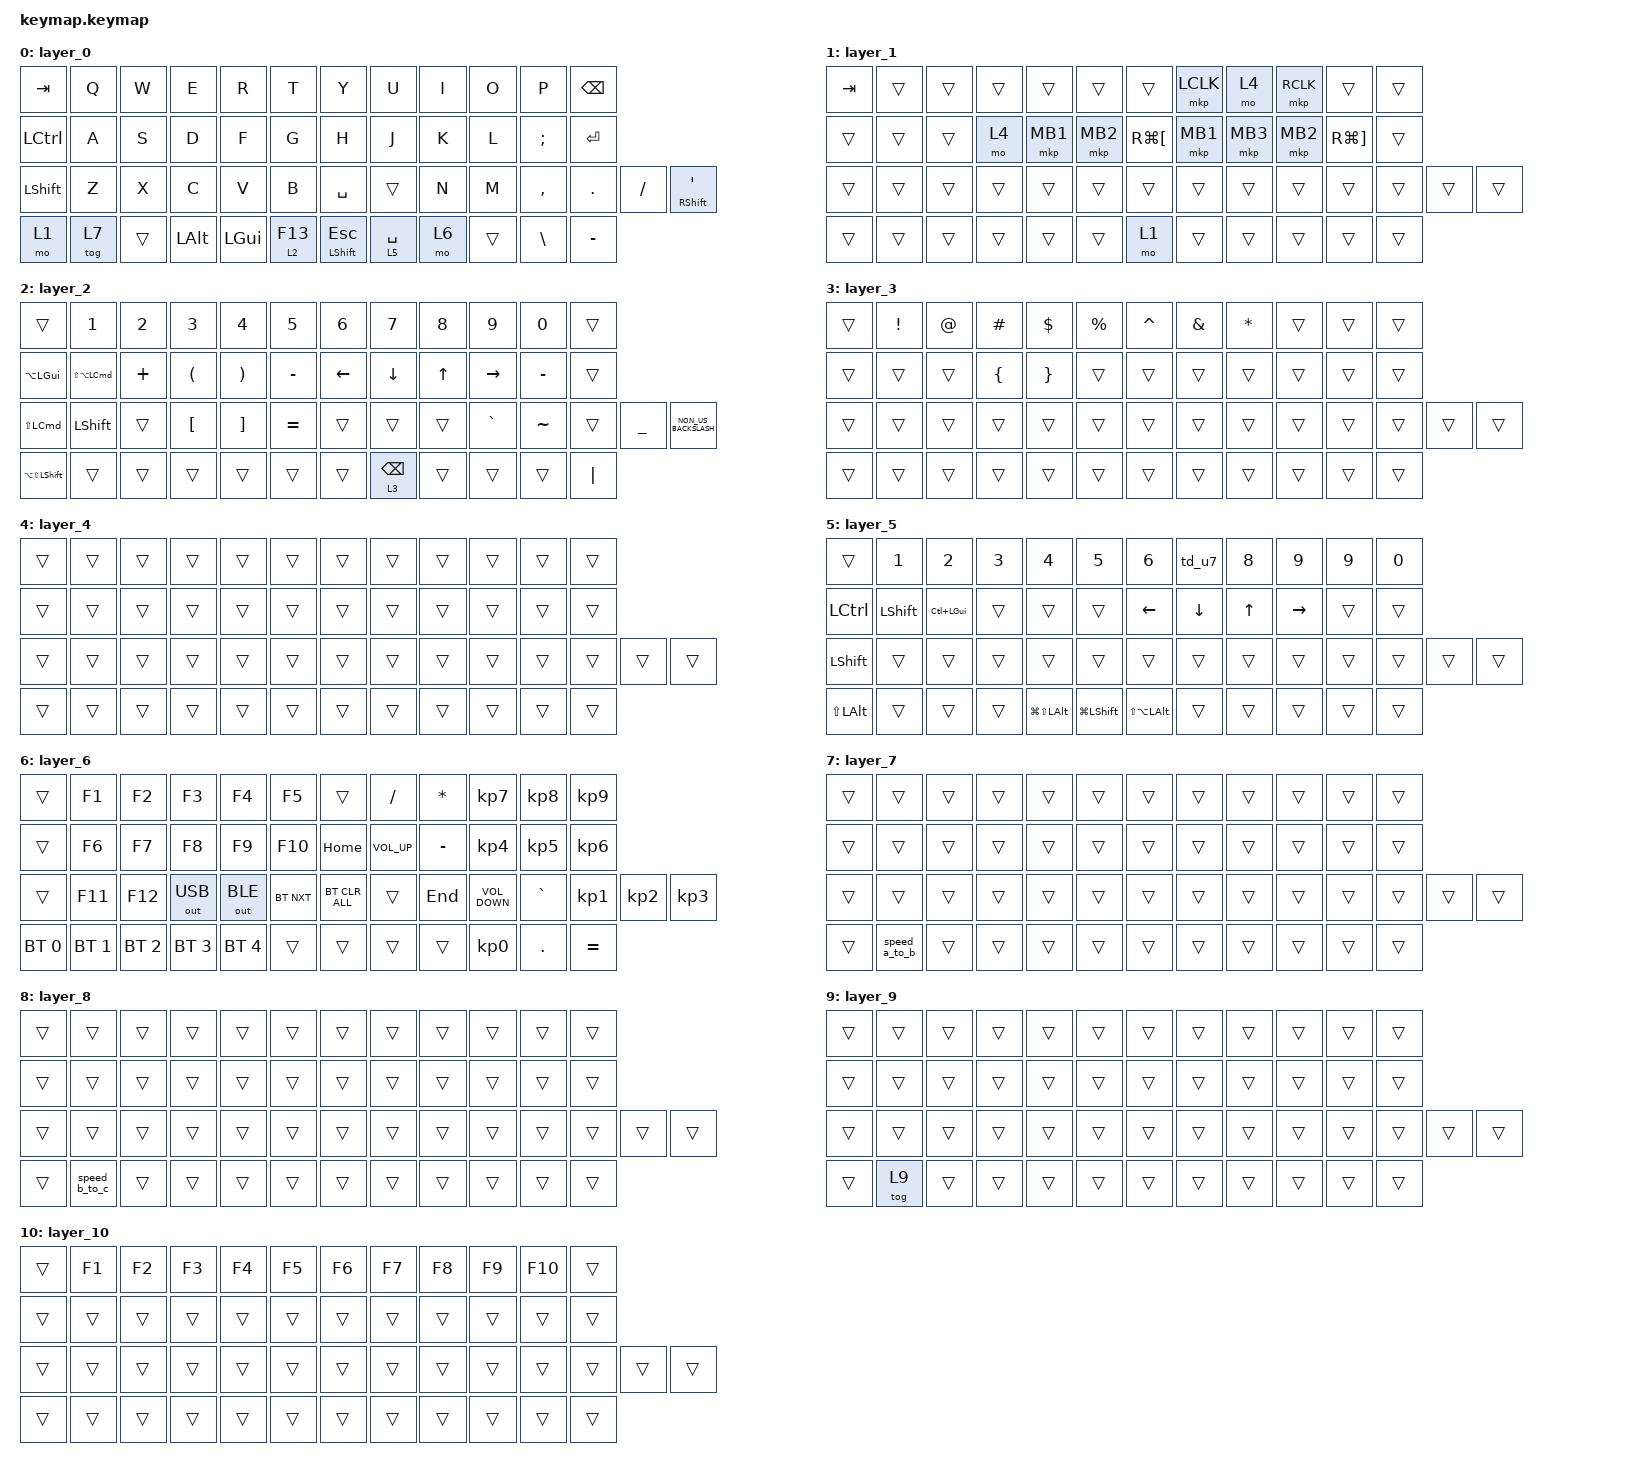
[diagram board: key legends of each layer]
#include <behaviors.dtsi>
#include <dt-bindings/zmk/bt.h>
#include <dt-bindings/zmk/keys.h>
#include <dt-bindings/zmk/outputs.h>
#include <dt-bindings/zmk/pointing.h>

/ {
    behaviors {
        lt_rep: layer_tap_repeatable {
            compatible = "zmk,behavior-hold-tap";
            #binding-cells = <2>;
            flavor = "tap-preferred";
            tapping-term-ms = <200>;
            quick-tap-ms = <200>;
            bindings = <&mo>, <&kp>;
        };

        td_u7: tap_dance_u7 {
            compatible = "zmk,behavior-tap-dance";
            #binding-cells = <0>;
            tapping-term-ms = <200>;
            bindings = <&kp N7>, <&kp U>;
        };
    };

    macros {
        speed_a_to_b: speed_a_to_b {
            compatible = "zmk,behavior-macro";
            #binding-cells = <0>;
            bindings = <&macro_tap>, <&tog 7 &tog 8>;
        };

        speed_b_to_c: speed_b_to_c {
            compatible = "zmk,behavior-macro";
            #binding-cells = <0>;
            bindings = <&macro_tap>, <&tog 8 &tog 9>;
        };
    };

    combos {
        compatible = "zmk,combos";

        bt_clear {
            bindings = <&bt BT_CLR>;
            key-positions = <28 29>;
            layers = <2>;
        };

        switch-jp-lang {
            bindings = <&kp RIGHT_GUI>;
            key-positions = <15 16>;
            require-prior-idle-ms = <0>;
            timeout-ms = <30>;
            layers = <0 7 8 9>;
        };

        haifun {
            bindings = <&kp MINUS>;
            key-positions = <20 21>;
            timeout-ms = <30>;
            layers = <0 7 8 9>;
        };

        backspace {
            bindings = <&kp BACKSPACE>;
            key-positions = <19 20>;
            timeout-ms = <30>;
            layers = <0 7 8 9>;
        };

        under-score {
            bindings = <&kp UNDERSCORE>;
            key-positions = <34 35>;
            timeout-ms = <30>;
            layers = <0 7 8 9 5>;
        };
    };

    keymap {
        compatible = "zmk,keymap";

        layer_0 {
            bindings = <
&kp TAB    &kp Q   &kp W   &kp E     &kp R         &kp T      &kp Y               &kp U            &kp I  &kp O   &kp P          &kp BSPC
&kp LCTRL  &kp A   &kp S   &kp D     &kp F         &kp G      &kp H               &kp J            &kp K  &kp L   &kp SEMICOLON  &kp ENTER
&kp LSHFT  &kp Z   &kp X   &kp C     &kp V         &kp B      &kp SPACE           &trans           &kp N  &kp M   &kp COMMA      &kp DOT    &kp SLASH  &mt RSHFT SINGLE_QUOTE
&mo 1      &tog 7  &trans  &kp LALT  &kp LEFT_GUI  &lt 2 F13  &mt LEFT_SHIFT ESC  &lt_rep 5 SPACE  &mo 6  &trans  &kp BACKSLASH  &kp MINUS
            >;
        };

        layer_1 {
            bindings = <
&kp TAB  &trans  &trans  &trans  &trans    &trans    &trans                &mkp LCLK  &mo 4     &mkp RCLK  &trans                 &trans
&trans   &trans  &trans  &mo 4   &mkp MB1  &mkp MB2  &kp RG(LEFT_BRACKET)  &mkp MB1   &mkp MB3  &mkp MB2   &kp RG(RIGHT_BRACKET)  &trans
&trans   &trans  &trans  &trans  &trans    &trans    &trans                &trans     &trans    &trans     &trans                 &trans  &trans  &trans
&trans   &trans  &trans  &trans  &trans    &trans    &mo 1                 &trans     &trans    &trans     &trans                 &trans
            >;
        };

        layer_2 {
            bindings = <
&trans                  &kp N1            &kp N2    &kp N3                &kp N4                 &kp N5     &kp N6    &kp N7               &kp N8        &kp N9     &kp N0     &trans
&kp LA(LEFT_GUI)        &kp LS(LA(LCMD))  &kp PLUS  &kp LEFT_PARENTHESIS  &kp RIGHT_PARENTHESIS  &kp MINUS  &kp LEFT  &kp DOWN             &kp UP_ARROW  &kp RIGHT  &kp MINUS  &trans
&kp LS(LCMD)            &kp LEFT_SHIFT    &trans    &kp LEFT_BRACKET      &kp RIGHT_BRACKET      &kp EQUAL  &trans    &trans               &trans        &kp GRAVE  &kp TILDE  &trans    &kp UNDER  &kp NON_US_BACKSLASH
&kp LA(LS(LEFT_SHIFT))  &trans            &trans    &trans                &trans                 &trans     &trans    &lt_rep 3 BACKSPACE  &trans        &trans     &trans     &kp PIPE
            >;
        };

        layer_3 {
            bindings = <
&trans  &kp EXCLAMATION  &kp AT_SIGN  &kp HASH        &kp DOLLAR       &kp PERCENT  &kp CARET  &kp AMPERSAND  &kp ASTERISK  &trans  &trans  &trans
&trans  &trans           &trans       &kp LEFT_BRACE  &kp RIGHT_BRACE  &trans       &trans     &trans         &trans        &trans  &trans  &trans
&trans  &trans           &trans       &trans          &trans           &trans       &trans     &trans         &trans        &trans  &trans  &trans  &trans  &trans
&trans  &trans           &trans       &trans          &trans           &trans       &trans     &trans         &trans        &trans  &trans  &trans
            >;
        };

        layer_4 {
            bindings = <
&trans  &trans  &trans  &trans  &trans  &trans  &trans  &trans  &trans  &trans  &trans  &trans
&trans  &trans  &trans  &trans  &trans  &trans  &trans  &trans  &trans  &trans  &trans  &trans
&trans  &trans  &trans  &trans  &trans  &trans  &trans  &trans  &trans  &trans  &trans  &trans  &trans  &trans
&trans  &trans  &trans  &trans  &trans  &trans  &trans  &trans  &trans  &trans  &trans  &trans
            >;
        };

        layer_5 {
            bindings = <
&trans            &kp NUMBER_1    &kp NUMBER_2      &kp NUMBER_3  &kp NUMBER_4          &kp N5              &kp NUMBER_6          &td_u7          &kp N8        &kp N9           &kp N9  &kp N0
&kp LCTRL         &kp LEFT_SHIFT  &kp LC(LEFT_GUI)  &trans        &trans                &trans              &kp LEFT_ARROW        &kp DOWN_ARROW  &kp UP_ARROW  &kp RIGHT_ARROW  &trans  &trans
&kp LEFT_SHIFT    &trans          &trans            &trans        &trans                &trans              &trans                &trans          &trans        &trans           &trans  &trans  &trans  &trans
&kp LS(LEFT_ALT)  &trans          &trans            &trans        &kp LG(LS(LEFT_ALT))  &kp LG(LEFT_SHIFT)  &kp LS(LA(LEFT_ALT))  &trans          &trans        &trans           &trans  &trans
            >;
        };

        layer_6 {
            bindings = <
&trans        &kp F1        &kp F2        &kp F3        &kp F4        &kp F5      &trans          &kp FSLH         &kp ASTRK  &kp KP_NUMBER_7    &kp KP_NUMBER_8  &kp KP_NUMBER_9
&trans        &kp F6        &kp F7        &kp F8        &kp F9        &kp F10     &kp HOME        &kp C_VOLUME_UP  &kp MINUS  &kp KP_NUMBER_4    &kp KP_NUMBER_5  &kp KP_NUMBER_6
&trans        &kp F11       &kp F12       &out OUT_USB  &out OUT_BLE  &bt BT_NXT  &bt BT_CLR_ALL  &trans           &kp END    &kp C_VOLUME_DOWN  &kp GRAVE        &kp KP_NUMBER_1  &kp KP_NUMBER_2  &kp KP_NUMBER_3
&bt BT_SEL 0  &bt BT_SEL 1  &bt BT_SEL 2  &bt BT_SEL 3  &bt BT_SEL 4  &trans      &trans          &trans           &trans     &kp KP_NUMBER_0    &kp DOT          &kp EQUAL
            >;
        };

        layer_7 {
            bindings = <
&trans  &trans         &trans  &trans  &trans  &trans  &trans  &trans  &trans  &trans  &trans  &trans
&trans  &trans         &trans  &trans  &trans  &trans  &trans  &trans  &trans  &trans  &trans  &trans
&trans  &trans         &trans  &trans  &trans  &trans  &trans  &trans  &trans  &trans  &trans  &trans  &trans  &trans
&trans  &speed_a_to_b  &trans  &trans  &trans  &trans  &trans  &trans  &trans  &trans  &trans  &trans
            >;
        };

        layer_8 {
            bindings = <
&trans  &trans         &trans  &trans  &trans  &trans  &trans  &trans  &trans  &trans  &trans  &trans
&trans  &trans         &trans  &trans  &trans  &trans  &trans  &trans  &trans  &trans  &trans  &trans
&trans  &trans         &trans  &trans  &trans  &trans  &trans  &trans  &trans  &trans  &trans  &trans  &trans  &trans
&trans  &speed_b_to_c  &trans  &trans  &trans  &trans  &trans  &trans  &trans  &trans  &trans  &trans
            >;
        };

        layer_9 {
            bindings = <
&trans  &trans  &trans  &trans  &trans  &trans  &trans  &trans  &trans  &trans  &trans  &trans
&trans  &trans  &trans  &trans  &trans  &trans  &trans  &trans  &trans  &trans  &trans  &trans
&trans  &trans  &trans  &trans  &trans  &trans  &trans  &trans  &trans  &trans  &trans  &trans  &trans  &trans
&trans  &tog 9  &trans  &trans  &trans  &trans  &trans  &trans  &trans  &trans  &trans  &trans
            >;
        };

        layer_10 {
            bindings = <
&trans  &kp F1  &kp F2  &kp F3  &kp F4  &kp F5  &kp F6  &kp F7  &kp F8  &kp F9  &kp F10  &trans
&trans  &trans  &trans  &trans  &trans  &trans  &trans  &trans  &trans  &trans  &trans   &trans
&trans  &trans  &trans  &trans  &trans  &trans  &trans  &trans  &trans  &trans  &trans   &trans  &trans  &trans
&trans  &trans  &trans  &trans  &trans  &trans  &trans  &trans  &trans  &trans  &trans   &trans
            >;
        };
    };
};
